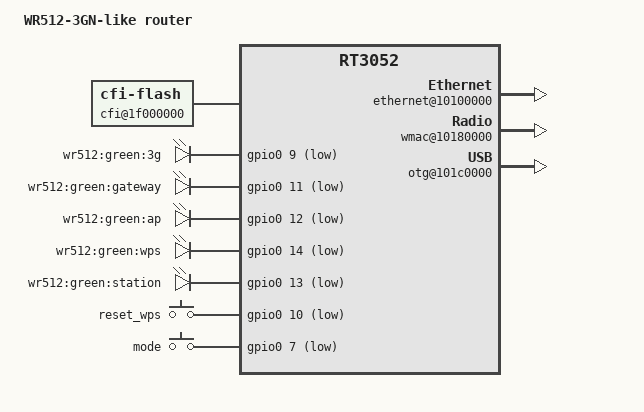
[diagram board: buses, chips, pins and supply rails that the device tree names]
/dts-v1/;

/include/ "rt3050.dtsi"

/ {
	#address-cells = <1>;
	#size-cells = <1>;
	compatible = "WR512-3GN", "ralink,rt3052-soc";
	model = "WR512-3GN-like router";

	memorydetect {
		ralink,memory = <0x0 0x200000 0x4000000>;
	};

	chosen {
		bootargs = "console=ttyS0,57600 mtdparts=1f000000.cfi:192k(u-boot)ro,64k(u-boot-env)ro,64k(factory)ro,3872k@0x50000(firmware)";
	};

	palmbus@10000000 {
		sysc@0 {
			ralink,pinmmux = "i2c", "spi", "uartlite", "jtag", "sdram", "rgmii";
			ralink,gpiommux = "mdio";
			ralink,uartmux = "gpio";
			ralink,wdtmux = <1>;
		};

		gpio0: gpio@600 {
			status = "okay";
		};
	};

	cfi@1f000000 {
		compatible = "cfi-flash";
		reg = <0x1f000000 0x800000>;

		bank-width = <2>;
		device-width = <2>;
		#address-cells = <1>;
		#size-cells = <1>;
	};

	ethernet@10100000 {
		status = "okay";
	};

	esw@10110000 {
		status = "okay";
		ralink,portmap = <0x2f>;
	};

	gpio-leds {
		compatible = "gpio-leds";
		3g {
			label = "wr512:green:3g";
			gpios = <&gpio0 9 1>;
		};
		gateway {
			label = "wr512:green:gateway";
			gpios = <&gpio0 11 1>;
		};
		ap {
			label = "wr512:green:ap";
			gpios = <&gpio0 12 1>;
		};
		wps {
			label = "wr512:green:wps";
			gpios = <&gpio0 14 1>;
		};
		station {
			label = "wr512:green:station";
			gpios = <&gpio0 13 1>;
		};
	};

	gpio-keys-polled {
		compatible = "gpio-keys-polled";
		#address-cells = <1>;
		#size-cells = <0>;
		poll-interval = <20>;
		reset_wps {
			label = "reset_wps";
			gpios = <&gpio0 10 1>;
			linux,code = <0x198>;
		};
		mode {
			label = "mode";
			gpios = <&gpio0 7 1>;
			linux,code = <0x32>;
		};
	};

	wmac@10180000 {
		status = "okay";
	};

	otg@101c0000 {
		status = "okay";
	};
};
